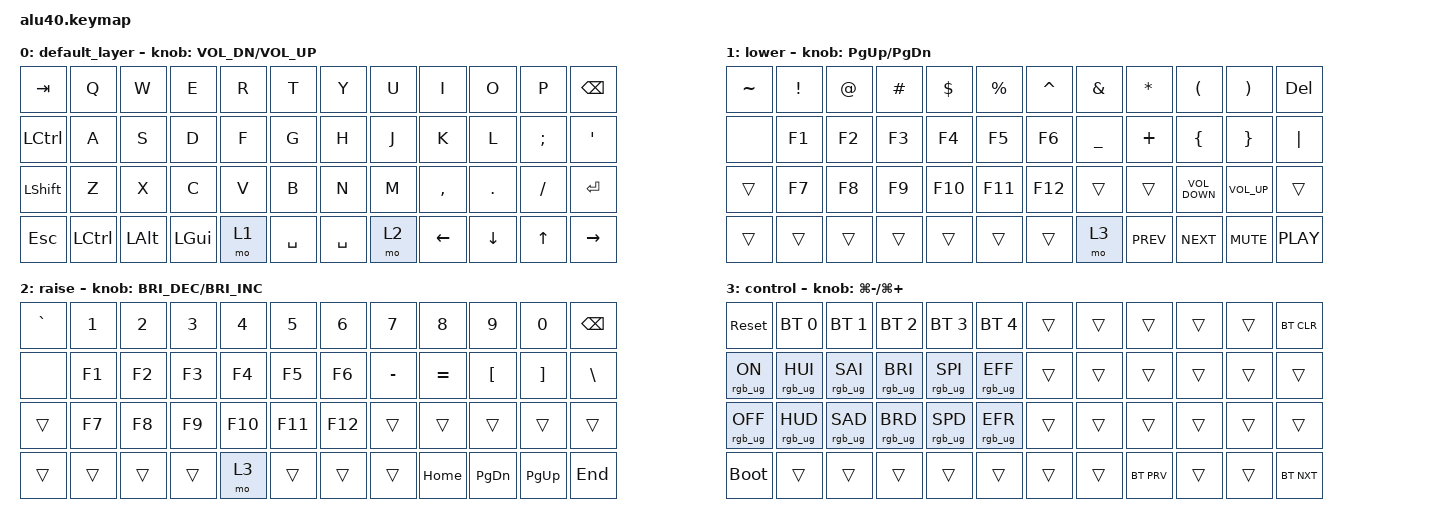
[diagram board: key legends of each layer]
/*
 * Copyright (c) 2022 The ZMK Contributors
 *
 * SPDX-License-Identifier: MIT
 */

#include <behaviors.dtsi>
#include <dt-bindings/zmk/bt.h>
#include <dt-bindings/zmk/keys.h>
#include <dt-bindings/zmk/rgb.h>

/ {
    keymap {
        compatible = "zmk,keymap";

        default_layer {
            // -----------------------------------------------------------------------------------------
            // | ESC/~ |  Q   |  W   |  E   |  R   |  T   |   Y   |  U    |  I   |  O   |   P   | BSPC  |
            // | TAB   |  A   |  S   |  D   |  F   |  G   |   H   |  J    |  K   |  L   |   ;   |  '    |
            // | SHIFT |  Z   |  X   |  C   |  V   |  B   |   N   |  M    |  ,   |  .   |   /   |RET/SFT|
            // | PLAY  | LCTL | LALT | LGUI | LOWR |     SPACE    |  RAIS | LARW | UARW | DARW  |  RARW |

            bindings = <
&kp TAB           &kp Q      &kp W     &kp E     &kp R  &kp T      &kp Y      &kp U  &kp I      &kp O     &kp P     &kp BSPC
&kp LEFT_CONTROL  &kp A      &kp S     &kp D     &kp F  &kp G      &kp H      &kp J  &kp K      &kp L     &kp SEMI  &kp SQT
&kp LSHFT         &kp Z      &kp X     &kp C     &kp V  &kp B      &kp N      &kp M  &kp COMMA  &kp DOT   &kp FSLH  &kp RETURN
&kp ESCAPE        &kp LCTRL  &kp LALT  &kp LGUI  &mo 1  &kp SPACE  &kp SPACE  &mo 2  &kp LEFT   &kp DOWN  &kp UP    &kp RIGHT
            >;

            sensor-bindings = <&inc_dec_kp C_VOL_DN C_VOL_UP>;
        };

        lower {
            bindings = <
&kp TILDE  &kp EXCLAMATION  &kp AT_SIGN  &kp HASH  &kp DOLLAR  &kp PERCENT  &kp CARET  &kp AMPERSAND  &kp ASTERISK  &kp LEFT_PARENTHESIS  &kp RIGHT_PARENTHESIS  &kp DEL
&none      &kp F1           &kp F2       &kp F3    &kp F4      &kp F5       &kp F6     &kp UNDER      &kp PLUS      &kp LBRC              &kp RBRC               &kp PIPE
&trans     &kp F7           &kp F8       &kp F9    &kp F10     &kp F11      &kp F12    &trans         &trans        &kp C_VOLUME_DOWN     &kp C_VOLUME_UP        &trans
&trans     &trans           &trans       &trans    &trans      &trans       &trans     &mo 3          &kp C_PREV    &kp C_NEXT            &kp K_MUTE             &kp C_PLAY
            >;

            sensor-bindings = <&inc_dec_kp PG_UP PG_DN>;
        };

        raise {
            bindings = <
&kp GRAVE  &kp N1  &kp N2  &kp N3  &kp N4   &kp N5   &kp N6   &kp N7     &kp N8     &kp N9         &kp N0       &kp BSPC
&none      &kp F1  &kp F2  &kp F3  &kp F4   &kp F5   &kp F6   &kp MINUS  &kp EQUAL  &kp LBKT       &kp RBKT     &kp BSLH
&trans     &kp F7  &kp F8  &kp F9  &kp F10  &kp F11  &kp F12  &trans     &trans     &trans         &trans       &trans
&trans     &trans  &trans  &trans  &mo 3    &trans   &trans   &trans     &kp HOME   &kp PAGE_DOWN  &kp PAGE_UP  &kp END
            >;

            sensor-bindings = <&inc_dec_kp C_BRI_DEC C_BRI_INC>;
        };

        control {
            bindings = <
&sys_reset       &bt BT_SEL 0     &bt BT_SEL 1     &bt BT_SEL 2     &bt BT_SEL 3     &bt BT_SEL 4     &trans  &trans  &trans      &trans  &trans  &bt BT_CLR
&rgb_ug RGB_ON   &rgb_ug RGB_HUI  &rgb_ug RGB_SAI  &rgb_ug RGB_BRI  &rgb_ug RGB_SPI  &rgb_ug RGB_EFF  &trans  &trans  &trans      &trans  &trans  &trans
&rgb_ug RGB_OFF  &rgb_ug RGB_HUD  &rgb_ug RGB_SAD  &rgb_ug RGB_BRD  &rgb_ug RGB_SPD  &rgb_ug RGB_EFR  &trans  &trans  &trans      &trans  &trans  &trans
&bootloader      &trans           &trans           &trans           &trans           &trans           &trans  &trans  &bt BT_PRV  &trans  &trans  &bt BT_NXT
            >;

            sensor-bindings = <&inc_dec_kp LG(MINUS) LG(PLUS)>;
        };
    };
};
